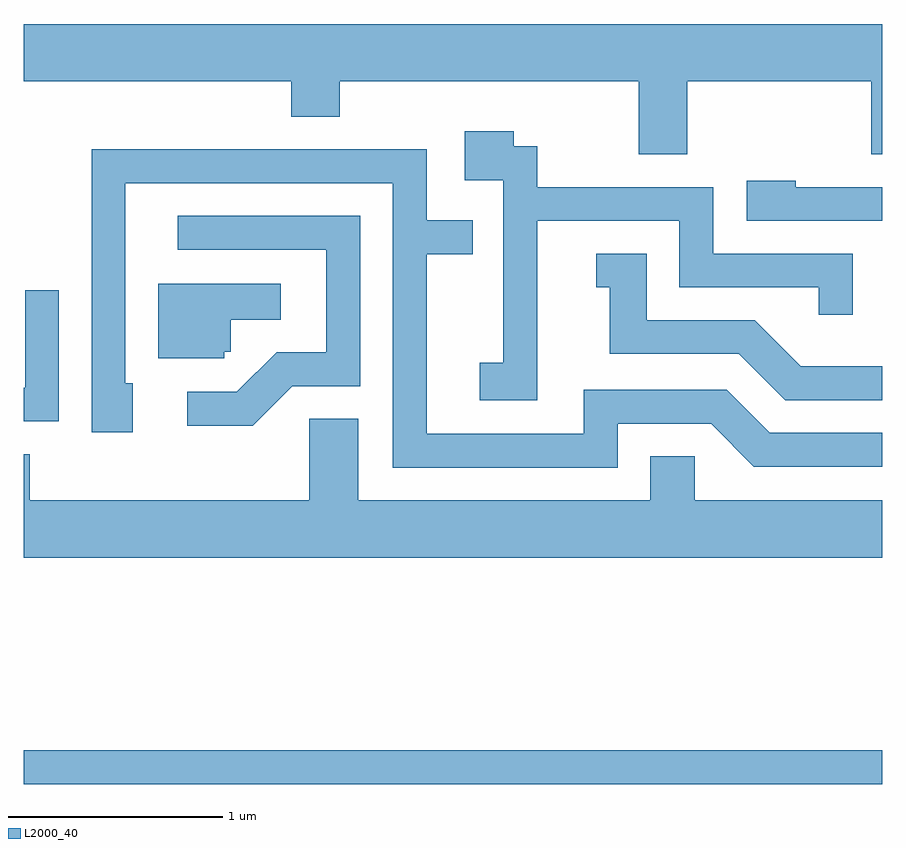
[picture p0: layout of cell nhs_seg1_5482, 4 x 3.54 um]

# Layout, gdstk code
import gdstk
lib = gdstk.Library(unit=1e-6, precision=1e-09)
def R(c, l, rs):  # rectangles x0, y0, x1, y1
    for r in rs: c.add(gdstk.rectangle(r[:2], r[2:], *l))
def P(c, l, *ps):  # polygons
    for p in ps: c.add(gdstk.Polygon(p, *l))
L2000_40 = (2000, 40)

nhs_seg1_5482 = lib.new_cell('nhs_seg1_5482')
R(nhs_seg1_5482, L2000_40, [(349.611,951.801,353.611,951.959)])
P(nhs_seg1_5482, L2000_40, [(352.704,955.076),(353.561,955.076),(353.561,954.736),(353.611,954.736),(353.611,955.344),(349.611,955.344),(349.611,955.076),(350.856,955.076),(350.856,954.911),(351.084,954.911),(351.084,955.076),(352.476,955.076),(352.476,954.736),(352.704,954.736)],
  [(352.004,954.426),(352.666,954.426),(352.666,954.116),(353.316,954.116),(353.316,953.988),(353.474,953.988),(353.474,954.274),(352.824,954.274),(352.824,954.584),(352.004,954.584),(352.004,954.774),(351.894,954.774),(351.894,954.844),(351.666,954.844),(351.666,954.616),(351.846,954.616),(351.846,953.764),(351.736,953.764),(351.736,953.591),(352.004,953.591)],
  [(352.379,953.481),(352.814,953.481),(353.014,953.281),(353.611,953.281),(353.611,953.439),(353.087,953.439),(352.887,953.639),(352.221,953.639),(352.221,953.434),(351.489,953.434),(351.489,954.271),(351.703,954.271),(351.703,954.429),(351.489,954.429),(351.489,954.759),(349.926,954.759),(349.926,953.441),(350.119,953.441),(350.119,953.669),(350.084,953.669),(350.084,954.601),(351.331,954.601),(351.331,953.276),(352.379,953.276)],
  [(353.611,954.584),(353.209,954.584),(353.209,954.614),(352.981,954.614),(352.981,954.426),(353.611,954.426)],
  [(350.862,953.656),(351.179,953.656),(351.179,954.449),(350.328,954.449),(350.328,954.291),(351.021,954.291),(351.021,953.814),(350.789,953.814),(350.604,953.629),(350.373,953.629),(350.373,953.471),(350.677,953.471)],
  [(353.611,953.749),(353.232,953.749),(353.017,953.964),(352.514,953.964),(352.514,954.274),(352.278,954.274),(352.278,954.116),(352.341,954.116),(352.341,953.806),(352.944,953.806),(353.159,953.591),(353.611,953.591)],
  [(350.544,953.816),(350.574,953.816),(350.574,953.966),(350.808,953.966),(350.808,954.134),(350.236,954.134),(350.236,953.786),(350.544,953.786)],
  [(349.774,954.103),(349.616,954.103),(349.616,953.649),(349.611,953.649),(349.611,953.491),(349.774,953.491)],
  [(353.611,953.124),(352.739,953.124),(352.739,953.329),(352.531,953.329),(352.531,953.124),(351.169,953.124),(351.169,953.504),(350.941,953.504),(350.941,953.124),(349.639,953.124),(349.639,953.339),(349.611,953.339),(349.611,952.856),(353.611,952.856)])

lib.write_gds('nhs_seg1_5482.gds')
